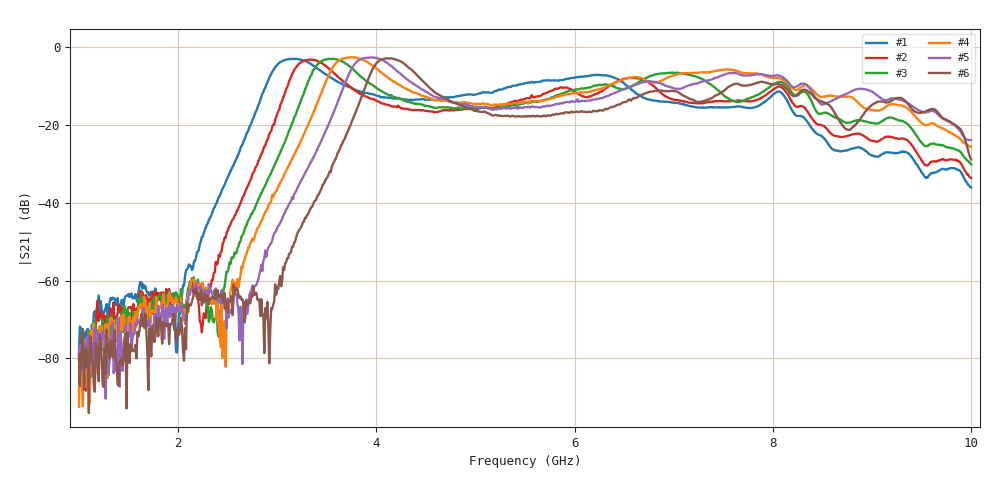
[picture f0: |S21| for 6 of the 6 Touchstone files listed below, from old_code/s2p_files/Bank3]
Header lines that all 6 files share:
!Agilent Technologies,N5227A,US51270477,A.10.00.00
!File generated by LCAF-GAM-UPV software
!josevmart@iteam.upv.es
!S2P File: Measurements: S11, S21, S12, S22:
# Hz S  dB  R 50
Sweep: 1 GHz to 10 GHz
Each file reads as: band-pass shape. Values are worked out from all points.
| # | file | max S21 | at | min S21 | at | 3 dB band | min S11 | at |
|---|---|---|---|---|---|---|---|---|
| 1 | Channel0.s2p | -3.01 dB | 3.18 GHz | -84.8 dB | 1.12 GHz | 2.96 GHz-3.43 GHz | -29.2 dB | 3.06 GHz |
| 2 | Channel1.s2p | -3.23 dB | 3.34 GHz | -88.3 dB | 1.07 GHz | 3.17 GHz-3.55 GHz | -21.9 dB | 3.26 GHz |
| 3 | Channel2.s2p | -3.01 dB | 3.56 GHz | -88.4 dB | 1 GHz | 3.36 GHz-3.77 GHz | -26.8 dB | 3.46 GHz |
| 4 | Channel3.s2p | -2.61 dB | 3.74 GHz | -92.4 dB | 1 GHz | 3.56 GHz-4 GHz | -40.8 dB | 7.84 GHz |
| 5 | Channel4.s2p | -2.68 dB | 3.97 GHz | -90.4 dB | 1.27 GHz | 3.75 GHz-4.18 GHz | -41.6 dB | 7.96 GHz |
| 6 | Channel5.s2p | -2.88 dB | 4.11 GHz | -94.0 dB | 1.1 GHz | 3.96 GHz-4.35 GHz | -35.7 dB | 8.02 GHz |
